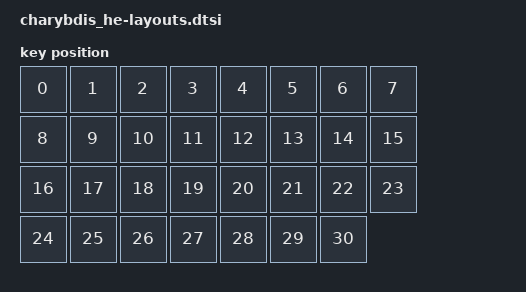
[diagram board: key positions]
// See https://zmk.dev/docs/development/hardware-integration/physical-layouts
// for how to configure this.

#include <physical_layouts.dtsi>

 / {
    default_layout: default_layout {
        compatible = "zmk,physical-layout";
        display-name = "Default Layout";
        transform = <&default_transform>;
        kscan = <&he_kscan>;

        // Edit this to define the positions and sizes of the keys, or remove it
        // if your keyboard will not support ZMK Studio.
        // https://zmk.dev/docs/development/hardware-integration/physical-layouts#optional-keys-property
        keys  //                     w   h    x    y     rot    rx    ry
            = <&key_physical_attrs 100 100    0    0       0     0     0>
            , <&key_physical_attrs 100 100  100    0       0     0     0>
            , <&key_physical_attrs 100 100  200    0       0     0     0>
            , <&key_physical_attrs 100 100  300    0       0     0     0>
            , <&key_physical_attrs 100 100  400    0       0     0     0>
            , <&key_physical_attrs 100 100  500    0       0     0     0>
            , <&key_physical_attrs 100 100  600    0       0     0     0>
            , <&key_physical_attrs 100 100  700    0       0     0     0>
            , <&key_physical_attrs 100 100    0  100       0     0     0>
            , <&key_physical_attrs 100 100  100  100       0     0     0>
            , <&key_physical_attrs 100 100  200  100       0     0     0>
            , <&key_physical_attrs 100 100  300  100       0     0     0>
            , <&key_physical_attrs 100 100  400  100       0     0     0>
            , <&key_physical_attrs 100 100  500  100       0     0     0>
            , <&key_physical_attrs 100 100  600  100       0     0     0>
            , <&key_physical_attrs 100 100  700  100       0     0     0>
            , <&key_physical_attrs 100 100    0  200       0     0     0>
            , <&key_physical_attrs 100 100  100  200       0     0     0>
            , <&key_physical_attrs 100 100  200  200       0     0     0>
            , <&key_physical_attrs 100 100  300  200       0     0     0>
            , <&key_physical_attrs 100 100  400  200       0     0     0>
            , <&key_physical_attrs 100 100  500  200       0     0     0>
            , <&key_physical_attrs 100 100  600  200       0     0     0>
            , <&key_physical_attrs 100 100  700  200       0     0     0>
            , <&key_physical_attrs 100 100    0  300       0     0     0>
            , <&key_physical_attrs 100 100  100  300       0     0     0>
            , <&key_physical_attrs 100 100  200  300       0     0     0>
            , <&key_physical_attrs 100 100  300  300       0     0     0>
            , <&key_physical_attrs 100 100  400  300       0     0     0>
            , <&key_physical_attrs 100 100  500  300       0     0     0>
            , <&key_physical_attrs 100 100  600  300       0     0     0>
            ;
    };
};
